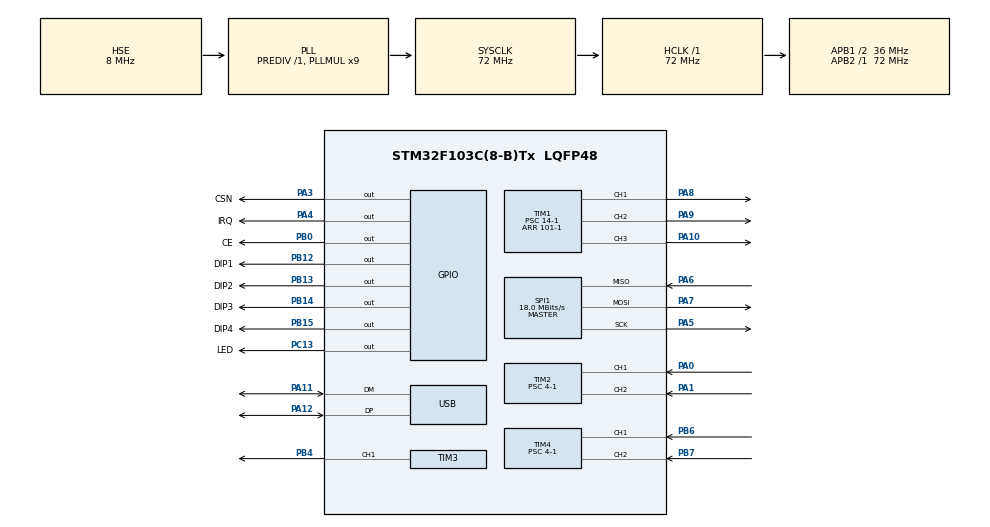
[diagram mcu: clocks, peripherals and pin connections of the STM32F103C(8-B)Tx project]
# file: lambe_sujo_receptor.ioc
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Mcu.Family=STM32F1
Mcu.Name=STM32F103C(8-B)Tx
Mcu.Package=LQFP48
NVIC.PriorityGroup=NVIC_PRIORITYGROUP_4
NVIC.TIM2_IRQn=true\:0\:0\:false\:false\:true\:true\:true\:true
NVIC.TIM4_IRQn=true\:0\:0\:false\:false\:true\:true\:true\:true
NVIC.USB_LP_CAN1_RX0_IRQn=true\:0\:0\:false\:false\:true\:false\:true\:true
PA0-WKUP.Signal=S_TIM2_CH1_ETR
PA1.Signal=S_TIM2_CH2
PA10.Signal=S_TIM1_CH3
PA11.Mode=Device
PA11.Signal=USB_DM
PA12.Mode=Device
PA12.Signal=USB_DP
PA3.GPIO_Label=CSN
PA3.Signal=GPIO_Output
PA4.GPIO_Label=IRQ
PA4.Signal=GPIO_Output
PA5.Mode=Full_Duplex_Master
PA5.Signal=SPI1_SCK
PA6.Mode=Full_Duplex_Master
PA6.Signal=SPI1_MISO
PA7.Mode=Full_Duplex_Master
PA7.Signal=SPI1_MOSI
PA8.Signal=S_TIM1_CH1
PA9.Signal=S_TIM1_CH2
PB0.GPIO_Label=CE
PB0.Signal=GPIO_Output
PB12.GPIO_Label=DIP1
PB12.GPIO_PuPd=GPIO_PULLUP
PB12.Signal=GPIO_Output
PB13.GPIO_Label=DIP2
PB13.GPIO_PuPd=GPIO_PULLUP
PB13.Signal=GPIO_Output
PB14.GPIO_Label=DIP3
PB14.GPIO_PuPd=GPIO_PULLUP
PB14.Signal=GPIO_Output
PB15.GPIO_Label=DIP4
PB15.GPIO_PuPd=GPIO_PULLUP
PB15.Signal=GPIO_Output
PB4.Signal=S_TIM3_CH1
PB6.Signal=S_TIM4_CH1
PB7.Signal=S_TIM4_CH2
PC13-TAMPER-RTC.GPIO_Label=LED
PC13-TAMPER-RTC.Signal=GPIO_Output
PD0-OSC_IN.Mode=HSE-External-Oscillator
PD0-OSC_IN.Signal=RCC_OSC_IN
PD1-OSC_OUT.Mode=HSE-External-Oscillator
PD1-OSC_OUT.Signal=RCC_OSC_OUT
ProjectManager.HeapSize=0x200
ProjectManager.StackSize=0x400
ProjectManager.TargetToolchain=STM32CubeIDE
RCC.AHBFreq_Value=72000000
RCC.APB1CLKDivider=RCC_HCLK_DIV2
RCC.APB1Freq_Value=36000000
RCC.APB1TimFreq_Value=72000000
RCC.APB2Freq_Value=72000000
RCC.APB2TimFreq_Value=72000000
RCC.HCLKFreq_Value=72000000
RCC.PLLMUL=RCC_PLL_MUL9
RCC.SYSCLKFreq_VALUE=72000000
RCC.SYSCLKSource=RCC_SYSCLKSOURCE_PLLCLK
RCC.USBFreq_Value=48000000
RCC.USBPrescaler=RCC_USBCLKSOURCE_PLL_DIV1_5
SH.S_TIM1_CH1.0=TIM1_CH1,PWM Generation1 CH1
SH.S_TIM1_CH2.0=TIM1_CH2,PWM Generation2 CH2
SH.S_TIM1_CH3.0=TIM1_CH3,PWM Generation3 CH3
SH.S_TIM2_CH1_ETR.0=TIM2_CH1,Encoder_Interface
SH.S_TIM2_CH2.0=TIM2_CH2,Encoder_Interface
SH.S_TIM3_CH1.0=TIM3_CH1,PWM Generation1 CH1
SH.S_TIM4_CH1.0=TIM4_CH1,Encoder_Interface
SH.S_TIM4_CH2.0=TIM4_CH2,Encoder_Interface
SPI1.BaudRatePrescaler=SPI_BAUDRATEPRESCALER_4
SPI1.CalculateBaudRate=18.0 MBits/s
SPI1.Direction=SPI_DIRECTION_2LINES
SPI1.Mode=SPI_MODE_MASTER
SPI1.VirtualType=VM_MASTER
TIM1.Channel-PWM\ Generation1\ CH1=TIM_CHANNEL_1
TIM1.Channel-PWM\ Generation2\ CH2=TIM_CHANNEL_2
TIM1.Channel-PWM\ Generation3\ CH3=TIM_CHANNEL_3
TIM1.Period=101-1
TIM1.Prescaler=14-1
TIM2.EncoderMode=TIM_ENCODERMODE_TI12
TIM2.IC1Polarity=TIM_ICPOLARITY_FALLING
TIM2.IC2Polarity=TIM_ICPOLARITY_FALLING
TIM2.Prescaler=4-1
TIM3.Channel-PWM\ Generation1\ CH1=TIM_CHANNEL_1
TIM3.Period=101-1
TIM3.Prescaler=14-1
TIM4.EncoderMode=TIM_ENCODERMODE_TI12
TIM4.IC1Polarity=TIM_ICPOLARITY_FALLING
TIM4.IC2Polarity=TIM_ICPOLARITY_FALLING
TIM4.Prescaler=4-1
USB_DEVICE.CLASS_NAME_FS=CDC
USB_DEVICE.VirtualMode=Cdc
USB_DEVICE.VirtualModeFS=Cdc_FS
VP_TIM1_VS_ClockSourceINT.Mode=Internal
VP_TIM3_VS_ClockSourceINT.Mode=Internal
VP_USB_DEVICE_VS_USB_DEVICE_CDC_FS.Mode=CDC_FS
board=custom

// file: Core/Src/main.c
/* USER CODE BEGIN Header */
/**
  ******************************************************************************
  * @file           : main.c
  * @brief          : Main program body
  ******************************************************************************
  * @attention
  *
  * Copyright (c) 2023 STMicroelectronics.
  * All rights reserved.
  *
  * This software is licensed under terms that can be found in the LICENSE file
  * in the root directory of this software component.
  * If no LICENSE file comes with this software, it is provided AS-IS.
  *
  ******************************************************************************
  */
/* USER CODE END Header */
#include "main.h"
#include "usb_device.h"

/* USER CODE BEGIN Includes */
#include "nrf24l01.h"
#include "string.h"
#include "usbd_cdc_if.h"
#include "stdio.h"
#include "stdbool.h"
/* USER CODE END Includes */

/* USER CODE BEGIN PTD */
#define PAYLOAD				11
#define byte_confirmacao		255
/* USER CODE END PTD */

SPI_HandleTypeDef hspi1;

TIM_HandleTypeDef htim1;
TIM_HandleTypeDef htim2;
TIM_HandleTypeDef htim3;
TIM_HandleTypeDef htim4;

/* USER CODE BEGIN PV */
nrf24 nrfRx;

uint8_t rxAddr1[] = { 0xEA, 0xDD, 0xCC, 0x20, 0x23 };
uint8_t rxAddr2[] = { 0xEB, 0xDD, 0xCC, 0xBB, 0xAA };
uint8_t rxAddr3[] = { 0xEC, 0xDD, 0xCC, 0xBB, 0xAA };
uint8_t rxAddr4[] = { 0xED, 0xDD, 0xCC, 0xBB, 0xAA };
uint8_t rxAddr5[] = { 0xEE, 0xDD, 0xCC, 0xBB, 0xAA };
uint8_t rxAddr6[] = { 0xEF, 0xDD, 0xCC, 0xBB, 0xAA };
uint8_t rxData[PAYLOAD];

uint8_t id;
uint8_t V_E;
uint8_t V_D;
bool sentido_e;
bool sentido_d;
/* USER CODE END PV */

void SystemClock_Config(void);
static void MX_GPIO_Init(void);
static void MX_SPI1_Init(void);
static void MX_TIM1_Init(void);
static void MX_TIM2_Init(void);
static void MX_TIM3_Init(void);
static void MX_TIM4_Init(void);
/* USER CODE BEGIN PFP */
void readData(void);
void quemSouEu(void);
/* USER CODE END PFP */

/* USER CODE BEGIN 0 */
uint32_t counter = 0;
uint16_t position = 0;
int16_t speed = 0;

uint32_t counter2 = 0;
uint16_t position2 = 0;
int16_t speed2 = 0;

void HAL_TIM_IC_CaptureCallback(TIM_HandleTypeDef *htim)
{
	if (htim->Instance == TIM2)
	{
		counter = __HAL_TIM_GET_COUNTER(htim);
		position = (int16_t)counter;
	}else if(htim->Instance == TIM4){
		counter2 = __HAL_TIM_GET_COUNTER(htim);
		position2 = (int16_t)counter2;
	}

}
/* USER CODE END 0 */

int main(void)
{

  /* MCU Configuration--------------------------------------------------------*/

  /* Reset of all peripherals, Initializes the Flash interface and the Systick. */
  HAL_Init();

  /* Configure the system clock */
  SystemClock_Config();

  /* Initialize all configured peripherals */
  MX_GPIO_Init();
  MX_SPI1_Init();
  MX_TIM1_Init();
  MX_TIM2_Init();
  MX_TIM3_Init();
  MX_TIM4_Init();
  MX_USB_DEVICE_Init();
  /* USER CODE BEGIN 2 */
  /* Configuração do rádio */
  nrfRx.CE_port = CE_GPIO_Port;
  nrfRx.CE_pin = CE_Pin;
  nrfRx.CSN_port = CSN_GPIO_Port;
  nrfRx.CSN_pin = CSN_Pin;
  nrfRx.IRQ_port = IRQ_GPIO_Port;
  nrfRx.IRQ_pin = IRQ_Pin;
  nrfRx.hSPIx = &hspi1;

  nrf24_init(&nrfRx);
  nrf24_setDataRate(&nrfRx, _250kbs);
  nrf24_setPALevel(&nrfRx, high);

  nrf24_setRxPipe(&nrfRx, rxAddr1, 0, PAYLOAD);
  //nrf24_setRxPipe(&nrfRx, rxAddr2, 1, PAYLOAD);
  //nrf24_setRxPipe(&nrfRx, rxAddr4, 2, PAYLOAD);
  //nrf24_setRxPipe(&nrfRx, rxAddr3, 3, PAYLOAD);
  nrf24_setMode(&nrfRx, rxMode);
  /* Configuração dos timers referentes aos encoders */
  HAL_TIM_Encoder_Start_IT(&htim2, TIM_CHANNEL_ALL);
  HAL_TIM_Encoder_Start_IT(&htim4, TIM_CHANNEL_ALL);
  /* Configuração dos timers referentes ao PWM */
  HAL_TIM_PWM_Start(&htim1, TIM_CHANNEL_1);
  HAL_TIM_PWM_Start(&htim1, TIM_CHANNEL_2);
  HAL_TIM_PWM_Start(&htim3, TIM_CHANNEL_1);
  HAL_TIM_PWM_Start(&htim1, TIM_CHANNEL_3);

  quemSouEu();
  HAL_GPIO_WritePin(LED_GPIO_Port, LED_Pin, GPIO_PIN_SET);
  /* USER CODE END 2 */

  /* Infinite loop */
  while (1)
  {

    /* USER CODE BEGIN 3 */

	if (isDataAvailable(&nrfRx, 0) == 1){
		readData();
		/* checando se o dado é nosso */
		if(rxData[0] == byte_confirmacao){
			V_D = rxData[2*id -1];
			V_E = rxData[2*id];

			if(V_D >= 128){
				V_D = V_D - 128;
				sentido_d = 1;
			}
			if(V_E >= 128){
				V_E = V_E - 128;
				sentido_e = 1;
			}
			// devo usar: PWM FOWARD/SLOW DECAY AN1 = 1 e AN2 = PWM
			//			  PWM REVERSE/SLOW DECAY AN1 = PWM e AN2 = 1
			// nesse caso os canais de PWM que devem ser conectados aos pinos da ponte H.
			// sendo TIM1_CH1 e TIM1_CH2 no AN1 e AN2 respectivamente (direito)
			// e     TIM1_CH3 e TIM3-CH1 no BN1 e BN2 respectivamente (esquerdo)
			// sendo sentido_x = 1 inverso e o sentido_x = 0 para frente.
			if(sentido_d == 0){
				TIM1->CCR1 = 100 -V_D;
				TIM1->CCR2 = 100;
			}else{
				TIM1->CCR1 = 100;
				TIM1->CCR2 = 100 -V_D;
			}
			if(sentido_e == 0){
				TIM1->CCR3 = 100 -V_E;
				TIM3->CCR1 = 100;
			}else{
				TIM1->CCR3 = 100;
				TIM3->CCR1 = 100 -V_E;
			}

		}
	}
  }
  /* USER CODE END 3 */
}

void SystemClock_Config(void)
{
  RCC_OscInitTypeDef RCC_OscInitStruct = {0};
  RCC_ClkInitTypeDef RCC_ClkInitStruct = {0};
  RCC_PeriphCLKInitTypeDef PeriphClkInit = {0};

  /** Initializes the RCC Oscillators according to the specified parameters
  * in the RCC_OscInitTypeDef structure.
  */
  RCC_OscInitStruct.OscillatorType = RCC_OSCILLATORTYPE_HSE;
  RCC_OscInitStruct.HSEState = RCC_HSE_ON;
  RCC_OscInitStruct.HSEPredivValue = RCC_HSE_PREDIV_DIV1;
  RCC_OscInitStruct.HSIState = RCC_HSI_ON;
  RCC_OscInitStruct.PLL.PLLState = RCC_PLL_ON;
  RCC_OscInitStruct.PLL.PLLSource = RCC_PLLSOURCE_HSE;
  RCC_OscInitStruct.PLL.PLLMUL = RCC_PLL_MUL9;
  if (HAL_RCC_OscConfig(&RCC_OscInitStruct) != HAL_OK)
  {
    Error_Handler();
  }

  /** Initializes the CPU, AHB and APB buses clocks
  */
  RCC_ClkInitStruct.ClockType = RCC_CLOCKTYPE_HCLK|RCC_CLOCKTYPE_SYSCLK
                              |RCC_CLOCKTYPE_PCLK1|RCC_CLOCKTYPE_PCLK2;
  RCC_ClkInitStruct.SYSCLKSource = RCC_SYSCLKSOURCE_PLLCLK;
  RCC_ClkInitStruct.AHBCLKDivider = RCC_SYSCLK_DIV1;
  RCC_ClkInitStruct.APB1CLKDivider = RCC_HCLK_DIV2;
  RCC_ClkInitStruct.APB2CLKDivider = RCC_HCLK_DIV1;

  if (HAL_RCC_ClockConfig(&RCC_ClkInitStruct, FLASH_LATENCY_2) != HAL_OK)
  {
    Error_Handler();
  }
  PeriphClkInit.PeriphClockSelection = RCC_PERIPHCLK_USB;
  PeriphClkInit.UsbClockSelection = RCC_USBCLKSOURCE_PLL_DIV1_5;
  if (HAL_RCCEx_PeriphCLKConfig(&PeriphClkInit) != HAL_OK)
  {
    Error_Handler();
  }
}

static void MX_SPI1_Init(void)
{

  /* SPI1 parameter configuration*/
  hspi1.Instance = SPI1;
  hspi1.Init.Mode = SPI_MODE_MASTER;
  hspi1.Init.Direction = SPI_DIRECTION_2LINES;
  hspi1.Init.DataSize = SPI_DATASIZE_8BIT;
  hspi1.Init.CLKPolarity = SPI_POLARITY_LOW;
  hspi1.Init.CLKPhase = SPI_PHASE_1EDGE;
  hspi1.Init.NSS = SPI_NSS_SOFT;
  hspi1.Init.BaudRatePrescaler = SPI_BAUDRATEPRESCALER_4;
  hspi1.Init.FirstBit = SPI_FIRSTBIT_MSB;
  hspi1.Init.TIMode = SPI_TIMODE_DISABLE;
  hspi1.Init.CRCCalculation = SPI_CRCCALCULATION_DISABLE;
  hspi1.Init.CRCPolynomial = 10;
  if (HAL_SPI_Init(&hspi1) != HAL_OK)
  {
    Error_Handler();
  }

}

static void MX_TIM1_Init(void)
{

  TIM_ClockConfigTypeDef sClockSourceConfig = {0};
  TIM_MasterConfigTypeDef sMasterConfig = {0};
  TIM_OC_InitTypeDef sConfigOC = {0};
  TIM_BreakDeadTimeConfigTypeDef sBreakDeadTimeConfig = {0};

  htim1.Instance = TIM1;
  htim1.Init.Prescaler = 14-1;
  htim1.Init.CounterMode = TIM_COUNTERMODE_UP;
  htim1.Init.Period = 101-1;
  htim1.Init.ClockDivision = TIM_CLOCKDIVISION_DIV1;
  htim1.Init.RepetitionCounter = 0;
  htim1.Init.AutoReloadPreload = TIM_AUTORELOAD_PRELOAD_DISABLE;
  if (HAL_TIM_Base_Init(&htim1) != HAL_OK)
  {
    Error_Handler();
  }
  sClockSourceConfig.ClockSource = TIM_CLOCKSOURCE_INTERNAL;
  if (HAL_TIM_ConfigClockSource(&htim1, &sClockSourceConfig) != HAL_OK)
  {
    Error_Handler();
  }
  if (HAL_TIM_PWM_Init(&htim1) != HAL_OK)
  {
    Error_Handler();
  }
  sMasterConfig.MasterOutputTrigger = TIM_TRGO_RESET;
  sMasterConfig.MasterSlaveMode = TIM_MASTERSLAVEMODE_DISABLE;
  if (HAL_TIMEx_MasterConfigSynchronization(&htim1, &sMasterConfig) != HAL_OK)
  {
    Error_Handler();
  }
  sConfigOC.OCMode = TIM_OCMODE_PWM1;
  sConfigOC.Pulse = 0;
  sConfigOC.OCPolarity = TIM_OCPOLARITY_HIGH;
  sConfigOC.OCNPolarity = TIM_OCNPOLARITY_HIGH;
  sConfigOC.OCFastMode = TIM_OCFAST_DISABLE;
  sConfigOC.OCIdleState = TIM_OCIDLESTATE_RESET;
  sConfigOC.OCNIdleState = TIM_OCNIDLESTATE_RESET;
  if (HAL_TIM_PWM_ConfigChannel(&htim1, &sConfigOC, TIM_CHANNEL_1) != HAL_OK)
  {
    Error_Handler();
  }
  if (HAL_TIM_PWM_ConfigChannel(&htim1, &sConfigOC, TIM_CHANNEL_2) != HAL_OK)
  {
    Error_Handler();
  }
  if (HAL_TIM_PWM_ConfigChannel(&htim1, &sConfigOC, TIM_CHANNEL_3) != HAL_OK)
  {
    Error_Handler();
  }
  sBreakDeadTimeConfig.OffStateRunMode = TIM_OSSR_DISABLE;
  sBreakDeadTimeConfig.OffStateIDLEMode = TIM_OSSI_DISABLE;
  sBreakDeadTimeConfig.LockLevel = TIM_LOCKLEVEL_OFF;
  sBreakDeadTimeConfig.DeadTime = 0;
  sBreakDeadTimeConfig.BreakState = TIM_BREAK_DISABLE;
  sBreakDeadTimeConfig.BreakPolarity = TIM_BREAKPOLARITY_HIGH;
  sBreakDeadTimeConfig.AutomaticOutput = TIM_AUTOMATICOUTPUT_DISABLE;
  if (HAL_TIMEx_ConfigBreakDeadTime(&htim1, &sBreakDeadTimeConfig) != HAL_OK)
  {
    Error_Handler();
  }
  HAL_TIM_MspPostInit(&htim1);

}

static void MX_TIM2_Init(void)
{

  TIM_Encoder_InitTypeDef sConfig = {0};
  TIM_MasterConfigTypeDef sMasterConfig = {0};

  htim2.Instance = TIM2;
  htim2.Init.Prescaler = 4-1;
  htim2.Init.CounterMode = TIM_COUNTERMODE_UP;
  htim2.Init.Period = 65535;
  htim2.Init.ClockDivision = TIM_CLOCKDIVISION_DIV1;
  htim2.Init.AutoReloadPreload = TIM_AUTORELOAD_PRELOAD_DISABLE;
  sConfig.EncoderMode = TIM_ENCODERMODE_TI12;
  sConfig.IC1Polarity = TIM_ICPOLARITY_FALLING;
  sConfig.IC1Selection = TIM_ICSELECTION_DIRECTTI;
  sConfig.IC1Prescaler = TIM_ICPSC_DIV1;
  sConfig.IC1Filter = 0;
  sConfig.IC2Polarity = TIM_ICPOLARITY_FALLING;
  sConfig.IC2Selection = TIM_ICSELECTION_DIRECTTI;
  sConfig.IC2Prescaler = TIM_ICPSC_DIV1;
  sConfig.IC2Filter = 0;
  if (HAL_TIM_Encoder_Init(&htim2, &sConfig) != HAL_OK)
  {
    Error_Handler();
  }
  sMasterConfig.MasterOutputTrigger = TIM_TRGO_RESET;
  sMasterConfig.MasterSlaveMode = TIM_MASTERSLAVEMODE_DISABLE;
  if (HAL_TIMEx_MasterConfigSynchronization(&htim2, &sMasterConfig) != HAL_OK)
  {
    Error_Handler();
  }

}

static void MX_TIM3_Init(void)
{

  TIM_ClockConfigTypeDef sClockSourceConfig = {0};
  TIM_MasterConfigTypeDef sMasterConfig = {0};
  TIM_OC_InitTypeDef sConfigOC = {0};

  htim3.Instance = TIM3;
  htim3.Init.Prescaler = 14-1;
  htim3.Init.CounterMode = TIM_COUNTERMODE_UP;
  htim3.Init.Period = 101-1;
  htim3.Init.ClockDivision = TIM_CLOCKDIVISION_DIV1;
  htim3.Init.AutoReloadPreload = TIM_AUTORELOAD_PRELOAD_DISABLE;
  if (HAL_TIM_Base_Init(&htim3) != HAL_OK)
  {
    Error_Handler();
  }
  sClockSourceConfig.ClockSource = TIM_CLOCKSOURCE_INTERNAL;
  if (HAL_TIM_ConfigClockSource(&htim3, &sClockSourceConfig) != HAL_OK)
  {
    Error_Handler();
  }
  if (HAL_TIM_PWM_Init(&htim3) != HAL_OK)
  {
    Error_Handler();
  }
  sMasterConfig.MasterOutputTrigger = TIM_TRGO_RESET;
  sMasterConfig.MasterSlaveMode = TIM_MASTERSLAVEMODE_DISABLE;
  if (HAL_TIMEx_MasterConfigSynchronization(&htim3, &sMasterConfig) != HAL_OK)
  {
    Error_Handler();
  }
  sConfigOC.OCMode = TIM_OCMODE_PWM1;
  sConfigOC.Pulse = 0;
  sConfigOC.OCPolarity = TIM_OCPOLARITY_HIGH;
  sConfigOC.OCFastMode = TIM_OCFAST_DISABLE;
  if (HAL_TIM_PWM_ConfigChannel(&htim3, &sConfigOC, TIM_CHANNEL_1) != HAL_OK)
  {
    Error_Handler();
  }
  HAL_TIM_MspPostInit(&htim3);

}

static void MX_TIM4_Init(void)
{

  TIM_Encoder_InitTypeDef sConfig = {0};
  TIM_MasterConfigTypeDef sMasterConfig = {0};

  htim4.Instance = TIM4;
  htim4.Init.Prescaler = 4-1;
  htim4.Init.CounterMode = TIM_COUNTERMODE_UP;
  htim4.Init.Period = 65535;
  htim4.Init.ClockDivision = TIM_CLOCKDIVISION_DIV1;
  htim4.Init.AutoReloadPreload = TIM_AUTORELOAD_PRELOAD_DISABLE;
  sConfig.EncoderMode = TIM_ENCODERMODE_TI12;
  sConfig.IC1Polarity = TIM_ICPOLARITY_FALLING;
  sConfig.IC1Selection = TIM_ICSELECTION_DIRECTTI;
  sConfig.IC1Prescaler = TIM_ICPSC_DIV1;
  sConfig.IC1Filter = 0;
  sConfig.IC2Polarity = TIM_ICPOLARITY_FALLING;
  sConfig.IC2Selection = TIM_ICSELECTION_DIRECTTI;
  sConfig.IC2Prescaler = TIM_ICPSC_DIV1;
  sConfig.IC2Filter = 0;
  if (HAL_TIM_Encoder_Init(&htim4, &sConfig) != HAL_OK)
  {
    Error_Handler();
  }
  sMasterConfig.MasterOutputTrigger = TIM_TRGO_RESET;
  sMasterConfig.MasterSlaveMode = TIM_MASTERSLAVEMODE_DISABLE;
  if (HAL_TIMEx_MasterConfigSynchronization(&htim4, &sMasterConfig) != HAL_OK)
  {
    Error_Handler();
  }

}

static void MX_GPIO_Init(void)
{
  GPIO_InitTypeDef GPIO_InitStruct = {0};

  /* GPIO Ports Clock Enable */
  __HAL_RCC_GPIOC_CLK_ENABLE();
  __HAL_RCC_GPIOD_CLK_ENABLE();
  __HAL_RCC_GPIOA_CLK_ENABLE();
  __HAL_RCC_GPIOB_CLK_ENABLE();

  /*Configure GPIO pin Output Level */
  HAL_GPIO_WritePin(LED_GPIO_Port, LED_Pin, GPIO_PIN_RESET);

  /*Configure GPIO pin Output Level */
  HAL_GPIO_WritePin(GPIOA, CSN_Pin|IRQ_Pin, GPIO_PIN_RESET);

  /*Configure GPIO pin Output Level */
  HAL_GPIO_WritePin(GPIOB, CE_Pin|DIP1_Pin|DIP2_Pin|DIP3_Pin
                          |DIP4_Pin, GPIO_PIN_RESET);

  /*Configure GPIO pin : LED_Pin */
  GPIO_InitStruct.Pin = LED_Pin;
  GPIO_InitStruct.Mode = GPIO_MODE_OUTPUT_PP;
  GPIO_InitStruct.Pull = GPIO_NOPULL;
  GPIO_InitStruct.Speed = GPIO_SPEED_FREQ_LOW;
  HAL_GPIO_Init(LED_GPIO_Port, &GPIO_InitStruct);

  /*Configure GPIO pins : CSN_Pin IRQ_Pin */
  GPIO_InitStruct.Pin = CSN_Pin|IRQ_Pin;
  GPIO_InitStruct.Mode = GPIO_MODE_OUTPUT_PP;
  GPIO_InitStruct.Pull = GPIO_NOPULL;
  GPIO_InitStruct.Speed = GPIO_SPEED_FREQ_LOW;
  HAL_GPIO_Init(GPIOA, &GPIO_InitStruct);

  /*Configure GPIO pin : CE_Pin */
  GPIO_InitStruct.Pin = CE_Pin;
  GPIO_InitStruct.Mode = GPIO_MODE_OUTPUT_PP;
  GPIO_InitStruct.Pull = GPIO_NOPULL;
  GPIO_InitStruct.Speed = GPIO_SPEED_FREQ_LOW;
  HAL_GPIO_Init(CE_GPIO_Port, &GPIO_InitStruct);

  /*Configure GPIO pins : DIP1_Pin DIP2_Pin DIP3_Pin DIP4_Pin */
  GPIO_InitStruct.Pin = DIP1_Pin|DIP2_Pin|DIP3_Pin|DIP4_Pin;
  GPIO_InitStruct.Mode = GPIO_MODE_OUTPUT_PP;
  GPIO_InitStruct.Pull = GPIO_PULLUP;
  GPIO_InitStruct.Speed = GPIO_SPEED_FREQ_LOW;
  HAL_GPIO_Init(GPIOB, &GPIO_InitStruct);

}

/* USER CODE BEGIN 4 */
void readData(void) {
	nrf24_Receive(&nrfRx, rxData, PAYLOAD);
	//CDC_Transmit_FS(rxData, strlen(rxData));
	HAL_GPIO_TogglePin(LED_GPIO_Port, LED_Pin);
}

void quemSouEu(void){
	//se 0 então o DIP está ativado
	if(!HAL_GPIO_ReadPin(DIP1_GPIO_Port, DIP1_Pin)){
		if(HAL_GPIO_ReadPin(DIP2_GPIO_Port, DIP2_Pin)){
			id = 1;
		}else{
			id = 5;
		}

	}else if(!HAL_GPIO_ReadPin(DIP2_GPIO_Port, DIP2_Pin)){
		id = 2;
	}else if(!HAL_GPIO_ReadPin(DIP3_GPIO_Port, DIP3_Pin)){
		id = 3;
	}else if(!HAL_GPIO_ReadPin(DIP4_GPIO_Port, DIP4_Pin)){
		id = 4;
	}
}
/* USER CODE END 4 */

void Error_Handler(void)
{
  __disable_irq();
  while (1)
  {
  }
}
